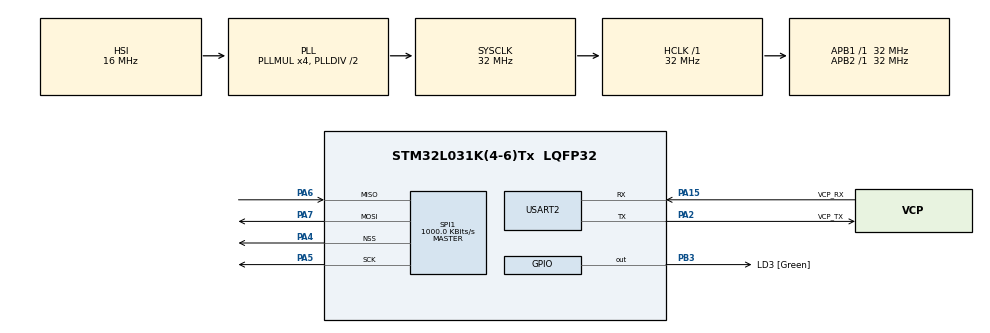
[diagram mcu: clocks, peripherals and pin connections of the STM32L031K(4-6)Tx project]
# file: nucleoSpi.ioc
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Mcu.Family=STM32L0
Mcu.Name=STM32L031K(4-6)Tx
Mcu.Package=LQFP32
PA13.GPIO_Label=TMS
PA13.Mode=Serial_Wire
PA13.Signal=SYS_SWDIO
PA14.GPIO_Label=TCK
PA14.Mode=Serial_Wire
PA14.Signal=SYS_SWCLK
PA15.GPIO_Label=VCP_RX
PA15.Mode=Asynchronous
PA15.Signal=USART2_RX
PA2.GPIO_Label=VCP_TX
PA2.Mode=Asynchronous
PA2.Signal=USART2_TX
PA4.GPIO_Mode=GPIO_MODE_AF_PP
PA4.GPIO_PuPd=GPIO_PULLUP
PA4.GPIO_Speed=GPIO_SPEED_FREQ_VERY_HIGH
PA4.Mode=NSS_Signal_Hard_Output
PA4.Signal=SPI1_NSS
PA5.GPIO_Mode=GPIO_MODE_AF_PP
PA5.GPIO_PuPd=GPIO_PULLUP
PA5.GPIO_Speed=GPIO_SPEED_FREQ_VERY_HIGH
PA5.Mode=Full_Duplex_Master
PA5.Signal=SPI1_SCK
PA6.GPIO_Mode=GPIO_MODE_AF_PP
PA6.GPIO_PuPd=GPIO_PULLUP
PA6.GPIO_Speed=GPIO_SPEED_FREQ_VERY_HIGH
PA6.Mode=Full_Duplex_Master
PA6.Signal=SPI1_MISO
PA7.GPIO_Mode=GPIO_MODE_AF_PP
PA7.GPIO_PuPd=GPIO_PULLUP
PA7.GPIO_Speed=GPIO_SPEED_FREQ_VERY_HIGH
PA7.Mode=Full_Duplex_Master
PA7.Signal=SPI1_MOSI
PB3.GPIO_Label=LD3 [Green]
PB3.Signal=GPIO_Output
PC14-OSC32_IN.Mode=LSE-External-Oscillator
PC14-OSC32_IN.Signal=RCC_OSC32_IN
PC15-OSC32_OUT.Mode=LSE-External-Oscillator
PC15-OSC32_OUT.Signal=RCC_OSC32_OUT
ProjectManager.HeapSize=0x200
ProjectManager.StackSize=0x400
ProjectManager.TargetToolchain=STM32CubeIDE
RCC.AHBFreq_Value=32000000
RCC.APB1Freq_Value=32000000
RCC.APB1TimFreq_Value=32000000
RCC.APB2Freq_Value=32000000
RCC.APB2TimFreq_Value=32000000
RCC.HCLKFreq_Value=32000000
RCC.HSE_VALUE=8000000
RCC.HSI16_VALUE=16000000
RCC.HSI48_VALUE=48000000
RCC.HSI_VALUE=16000000
RCC.MSI_VALUE=2097000
RCC.PLLMUL=RCC_PLLMUL_4
RCC.SYSCLKFreq_VALUE=32000000
RCC.SYSCLKSource=RCC_SYSCLKSOURCE_PLLCLK
RCC.VCOOutputFreq_Value=64000000
SPI1.BaudRatePrescaler=SPI_BAUDRATEPRESCALER_32
SPI1.CalculateBaudRate=1000.0 KBits/s
SPI1.Direction=SPI_DIRECTION_2LINES
SPI1.Mode=SPI_MODE_MASTER
SPI1.VirtualNSS=VM_NSSHARD
SPI1.VirtualType=VM_MASTER
USART2.VirtualMode-Asynchronous=VM_ASYNC
board=NUCLEO-L031K6

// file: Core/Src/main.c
/* USER CODE BEGIN Header */
/**
  ******************************************************************************
  * @file           : main.c
  * @brief          : Main program body
  ******************************************************************************
  * @attention
  *
  * Copyright (c) 2022 STMicroelectronics.
  * All rights reserved.
  *
  * This software is licensed under terms that can be found in the LICENSE file
  * in the root directory of this software component.
  * If no LICENSE file comes with this software, it is provided AS-IS.
  *
  ******************************************************************************
  */
/* USER CODE END Header */
#include "main.h"

SPI_HandleTypeDef hspi1;

UART_HandleTypeDef huart2;

void SystemClock_Config(void);
static void MX_GPIO_Init(void);
static void MX_USART2_UART_Init(void);
static void MX_SPI1_Init(void);

/* USER CODE BEGIN 0 */
uint8_t SPI_Write(uint8_t addr, uint8_t data){
	HAL_SPI_Init(&hspi1);
//	uint8_t txBuf[2] = {((addr << 1) ), data};
	uint8_t txBuf[2] = {(addr | 0x80), data};

	uint8_t status = (HAL_SPI_Transmit(&hspi1, txBuf, 2, HAL_MAX_DELAY) == HAL_OK);
    HAL_SPI_DeInit(&hspi1);

	return status;
}

uint8_t SPI_Read_Byte(uint8_t addr, uint8_t *data) {
	HAL_SPI_Init(&hspi1);
//	uint8_t dataBuffer[2] = {(addr << 1), 0x00};
	uint8_t dataBuffer[2] = {(addr), 0x00};

	uint8_t rxBuf[1];
	rxBuf[0] = 0x00;
//	uint8_t status = (HAL_SPI_TransmitReceive(&hspi1, dataBuffer, rxBuf, 3, HAL_MAX_DELAY) == HAL_OK);
	HAL_SPI_Transmit(&hspi1, dataBuffer, 1, 10000);
	uint8_t status = HAL_SPI_Receive(&hspi1, rxBuf, 1, 10000);
	*data = rxBuf[0];
    HAL_SPI_DeInit(&hspi1);

	return status;
}
/* USER CODE END 0 */

int main(void)
{

  /* MCU Configuration--------------------------------------------------------*/

  /* Reset of all peripherals, Initializes the Flash interface and the Systick. */
  HAL_Init();

  /* Configure the system clock */
  SystemClock_Config();

  /* Initialize all configured peripherals */
  MX_GPIO_Init();
  MX_USART2_UART_Init();
  MX_SPI1_Init();
  /* USER CODE BEGIN 2 */
	uint8_t rxbuf[1];

  /* USER CODE END 2 */

  /* Infinite loop */
  /* USER CODE BEGIN WHILE */
  while (1)
  {

	  SPI_Read_Byte(0x80, rxbuf);
	  HAL_Delay(20);
    /* USER CODE END WHILE */

  }
}

void SystemClock_Config(void)
{
  RCC_OscInitTypeDef RCC_OscInitStruct = {0};
  RCC_ClkInitTypeDef RCC_ClkInitStruct = {0};
  RCC_PeriphCLKInitTypeDef PeriphClkInit = {0};

  /** Configure the main internal regulator output voltage
  */
  __HAL_PWR_VOLTAGESCALING_CONFIG(PWR_REGULATOR_VOLTAGE_SCALE1);
  /** Initializes the RCC Oscillators according to the specified parameters
  * in the RCC_OscInitTypeDef structure.
  */
  RCC_OscInitStruct.OscillatorType = RCC_OSCILLATORTYPE_HSI;
  RCC_OscInitStruct.HSIState = RCC_HSI_ON;
  RCC_OscInitStruct.HSICalibrationValue = RCC_HSICALIBRATION_DEFAULT;
  RCC_OscInitStruct.PLL.PLLState = RCC_PLL_ON;
  RCC_OscInitStruct.PLL.PLLSource = RCC_PLLSOURCE_HSI;
  RCC_OscInitStruct.PLL.PLLMUL = RCC_PLLMUL_4;
  RCC_OscInitStruct.PLL.PLLDIV = RCC_PLLDIV_2;
  if (HAL_RCC_OscConfig(&RCC_OscInitStruct) != HAL_OK)
  {
    Error_Handler();
  }
  /** Initializes the CPU, AHB and APB buses clocks
  */
  RCC_ClkInitStruct.ClockType = RCC_CLOCKTYPE_HCLK|RCC_CLOCKTYPE_SYSCLK
                              |RCC_CLOCKTYPE_PCLK1|RCC_CLOCKTYPE_PCLK2;
  RCC_ClkInitStruct.SYSCLKSource = RCC_SYSCLKSOURCE_PLLCLK;
  RCC_ClkInitStruct.AHBCLKDivider = RCC_SYSCLK_DIV1;
  RCC_ClkInitStruct.APB1CLKDivider = RCC_HCLK_DIV1;
  RCC_ClkInitStruct.APB2CLKDivider = RCC_HCLK_DIV1;

  if (HAL_RCC_ClockConfig(&RCC_ClkInitStruct, FLASH_LATENCY_1) != HAL_OK)
  {
    Error_Handler();
  }
  PeriphClkInit.PeriphClockSelection = RCC_PERIPHCLK_USART2;
  PeriphClkInit.Usart2ClockSelection = RCC_USART2CLKSOURCE_PCLK1;
  if (HAL_RCCEx_PeriphCLKConfig(&PeriphClkInit) != HAL_OK)
  {
    Error_Handler();
  }
}

static void MX_SPI1_Init(void)
{

  /* SPI1 parameter configuration*/
  hspi1.Instance = SPI1;
  hspi1.Init.Mode = SPI_MODE_MASTER;
  hspi1.Init.Direction = SPI_DIRECTION_2LINES;
  hspi1.Init.DataSize = SPI_DATASIZE_8BIT;
  hspi1.Init.CLKPolarity = SPI_POLARITY_LOW;
  hspi1.Init.CLKPhase = SPI_PHASE_1EDGE;
  hspi1.Init.NSS = SPI_NSS_HARD_OUTPUT;
  hspi1.Init.BaudRatePrescaler = SPI_BAUDRATEPRESCALER_32;
  hspi1.Init.FirstBit = SPI_FIRSTBIT_MSB;
  hspi1.Init.TIMode = SPI_TIMODE_DISABLE;
  hspi1.Init.CRCCalculation = SPI_CRCCALCULATION_DISABLE;
  hspi1.Init.CRCPolynomial = 7;
  if (HAL_SPI_Init(&hspi1) != HAL_OK)
  {
    Error_Handler();
  }

}

static void MX_USART2_UART_Init(void)
{

  huart2.Instance = USART2;
  huart2.Init.BaudRate = 115200;
  huart2.Init.WordLength = UART_WORDLENGTH_8B;
  huart2.Init.StopBits = UART_STOPBITS_1;
  huart2.Init.Parity = UART_PARITY_NONE;
  huart2.Init.Mode = UART_MODE_TX_RX;
  huart2.Init.HwFlowCtl = UART_HWCONTROL_NONE;
  huart2.Init.OverSampling = UART_OVERSAMPLING_16;
  huart2.Init.OneBitSampling = UART_ONE_BIT_SAMPLE_DISABLE;
  huart2.AdvancedInit.AdvFeatureInit = UART_ADVFEATURE_NO_INIT;
  if (HAL_UART_Init(&huart2) != HAL_OK)
  {
    Error_Handler();
  }

}

static void MX_GPIO_Init(void)
{
  GPIO_InitTypeDef GPIO_InitStruct = {0};

  /* GPIO Ports Clock Enable */
  __HAL_RCC_GPIOC_CLK_ENABLE();
  __HAL_RCC_GPIOA_CLK_ENABLE();
  __HAL_RCC_GPIOB_CLK_ENABLE();

  /*Configure GPIO pin Output Level */
  HAL_GPIO_WritePin(LD3_GPIO_Port, LD3_Pin, GPIO_PIN_RESET);

  /*Configure GPIO pin : LD3_Pin */
  GPIO_InitStruct.Pin = LD3_Pin;
  GPIO_InitStruct.Mode = GPIO_MODE_OUTPUT_PP;
  GPIO_InitStruct.Pull = GPIO_NOPULL;
  GPIO_InitStruct.Speed = GPIO_SPEED_FREQ_LOW;
  HAL_GPIO_Init(LD3_GPIO_Port, &GPIO_InitStruct);

}

void Error_Handler(void)
{
  __disable_irq();
  while (1)
  {
  }
}
